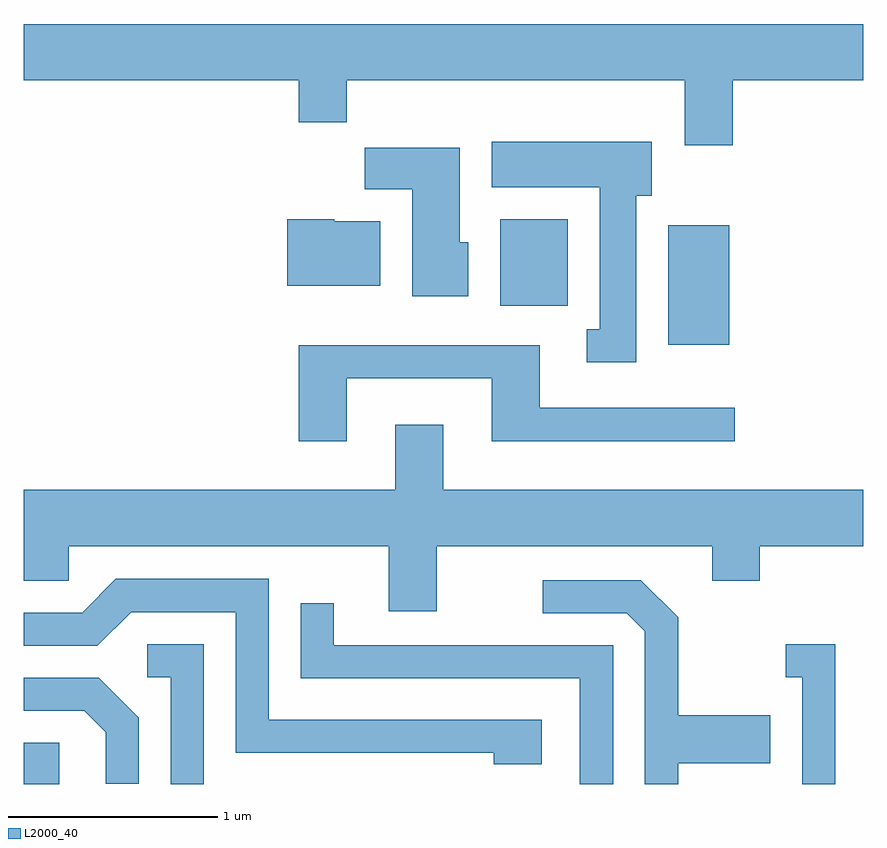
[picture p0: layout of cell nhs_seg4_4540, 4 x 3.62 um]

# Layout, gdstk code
import gdstk
lib = gdstk.Library(unit=1e-6, precision=1e-09)
def R(c, l, rs):  # rectangles x0, y0, x1, y1
    for r in rs: c.add(gdstk.rectangle(r[:2], r[2:], *l))
def P(c, l, *ps):  # polygons
    for p in ps: c.add(gdstk.Polygon(p, *l))
L2000_40 = (2000, 40)

nhs_seg4_4540 = lib.new_cell('nhs_seg4_4540')
R(nhs_seg4_4540, L2000_40, [(317.611,1357.982,317.779,1358.179), (320.681,1360.076,320.974,1360.644), (319.881,1360.261,320.204,1360.674)])
P(nhs_seg4_4540, L2000_40, [(320.989,1361.336),(321.611,1361.336),(321.611,1361.604),(317.611,1361.604),(317.611,1361.336),(318.921,1361.336),(318.921,1361.136),(319.149,1361.136),(319.149,1361.336),(320.761,1361.336),(320.761,1361.026),(320.989,1361.026)],
  [(320.529,1360.786),(320.604,1360.786),(320.604,1361.044),(319.841,1361.044),(319.841,1360.826),(320.356,1360.826),(320.356,1360.149),(320.293,1360.149),(320.293,1359.991),(320.529,1359.991)],
  [(319.729,1360.564),(319.689,1360.564),(319.689,1361.014),(319.236,1361.014),(319.236,1360.816),(319.461,1360.816),(319.461,1360.306),(319.729,1360.306)],
  [(319.309,1360.664),(319.09,1360.664),(319.09,1360.674),(318.866,1360.674),(318.866,1360.356),(319.309,1360.356)],
  [(319.149,1359.916),(319.841,1359.916),(319.841,1359.616),(320.998,1359.616),(320.998,1359.774),(320.069,1359.774),(320.069,1360.074),(318.921,1360.074),(318.921,1359.616),(319.149,1359.616)],
  [(317.611,1358.951),(317.824,1358.951),(317.824,1359.116),(319.351,1359.116),(319.351,1358.806),(319.579,1358.806),(319.579,1359.116),(320.891,1359.116),(320.891,1358.951),(321.119,1358.951),(321.119,1359.116),(321.611,1359.116),(321.611,1359.384),(319.609,1359.384),(319.609,1359.694),(319.381,1359.694),(319.381,1359.384),(317.611,1359.384)],
  [(320.079,1358.289),(318.779,1358.289),(318.779,1358.959),(318.049,1358.959),(317.889,1358.799),(317.611,1358.799),(317.611,1358.641),(317.962,1358.641),(318.122,1358.801),(318.621,1358.801),(318.621,1358.131),(319.851,1358.131),(319.851,1358.076),(320.079,1358.076)],
  [(320.729,1358.081),(321.169,1358.081),(321.169,1358.309),(320.729,1358.309),(320.729,1358.777),(320.552,1358.954),(320.083,1358.954),(320.083,1358.796),(320.484,1358.796),(320.571,1358.709),(320.571,1357.982),(320.729,1357.982)],
  [(320.419,1358.644),(319.089,1358.644),(319.089,1358.843),(318.931,1358.843),(318.931,1358.486),(320.261,1358.486),(320.261,1357.982),(320.419,1357.982)],
  [(318.469,1358.649),(318.198,1358.649),(318.198,1358.491),(318.311,1358.491),(318.311,1357.982),(318.469,1357.982)],
  [(321.479,1358.649),(321.243,1358.649),(321.243,1358.491),(321.321,1358.491),(321.321,1357.982),(321.479,1357.982)],
  [(318.159,1358.297),(317.967,1358.489),(317.611,1358.489),(317.611,1358.331),(317.899,1358.331),(318.001,1358.229),(318.001,1357.983),(318.159,1357.983)])

lib.write_gds('nhs_seg4_4540.gds')
